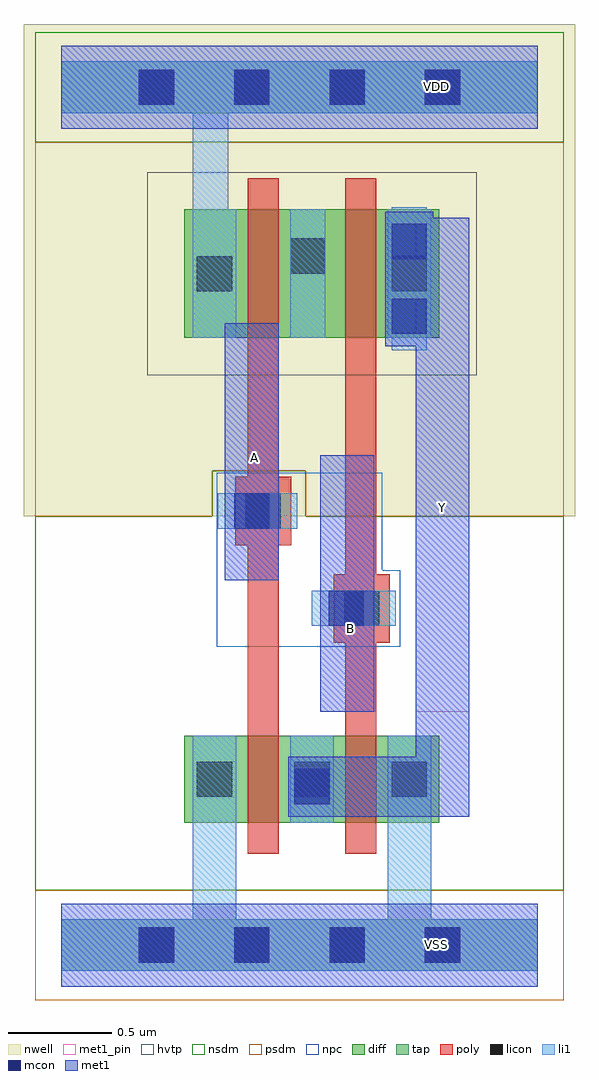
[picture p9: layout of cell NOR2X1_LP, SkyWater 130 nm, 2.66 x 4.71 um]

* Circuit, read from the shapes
.subckt NOR2X1_LP A B VDD VSS Y
XM1 Y A VSS VSS sky130_fd_pr__nfet_01v8 w=0.42 l=0.15
XM2 VSS B Y VSS sky130_fd_pr__nfet_01v8 w=0.42 l=0.15
XM3 n1 A VDD VDD sky130_fd_pr__pfet_01v8_hvt w=0.62 l=0.15
XM4 Y B n1 VDD sky130_fd_pr__pfet_01v8_hvt w=0.62 l=0.15
.ends

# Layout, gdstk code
import gdstk
lib = gdstk.Library(unit=1e-6, precision=1e-09)
def R(c, l, rs):  # rectangles x0, y0, x1, y1
    for r in rs: c.add(gdstk.rectangle(r[:2], r[2:], *l))
def A(c, l, x, y, w, h, nx, ny, dx, dy):  # array of equal rectangles
    R(c, l, [(x+i*dx, y+j*dy, x+i*dx+w, y+j*dy+h) for i in range(nx) for j in range(ny)])
def P(c, l, *ps):  # polygons
    for p in ps: c.add(gdstk.Polygon(p, *l))
nwell = (64, 20)
diff = (65, 20)
tap = (65, 44)
poly = (66, 20)
licon = (66, 44)
li1 = (67, 20)
mcon = (67, 44)
met1_pin = (68, 16)
met1 = (68, 20)
hvtp = (78, 44)
nsdm = (93, 44)
psdm = (94, 20)
npc = (95, 20)

l1m1_c_cdns_795853916197 = lib.new_cell('L1M1_C_CDNS_795853916197')
R(l1m1_c_cdns_795853916197, li1, [(-0.085,-0.165,0.085,0.165)])
R(l1m1_c_cdns_795853916197, mcon, [(-0.085,-0.085,0.085,0.085)])
R(l1m1_c_cdns_795853916197, met1, [(-0.115,-0.145,0.115,0.145)])

pyl1con_c_cdns_795853916 = lib.new_cell('PYL1CON_C_CDNS_795853916195')
R(pyl1con_c_cdns_795853916, poly, [(-0.135,-0.165,0.135,0.165)])
R(pyl1con_c_cdns_795853916, licon, [(-0.085,-0.085,0.085,0.085)])
R(pyl1con_c_cdns_795853916, npc, [(-0.185,-0.185,0.185,0.185)])

l1m1_c_cdns_795853916199 = lib.new_cell('L1M1_C_CDNS_795853916199')
R(l1m1_c_cdns_795853916199, li1, [(-0.085,-0.345,0.085,0.345)])
R(l1m1_c_cdns_795853916199, mcon, [(-0.085,-0.265,0.085,-0.095), (-0.085,0.095,0.085,0.265)])
R(l1m1_c_cdns_795853916199, met1, [(-0.115,-0.325,0.115,0.325)])

l1m1_c_cdns_795853916194 = lib.new_cell('L1M1_C_CDNS_795853916194')
R(l1m1_c_cdns_795853916194, li1, [(-0.165,-0.085,0.165,0.085)])
R(l1m1_c_cdns_795853916194, mcon, [(-0.085,-0.085,0.085,0.085)])
R(l1m1_c_cdns_795853916194, met1, [(-0.115,-0.145,0.115,0.145)])

licondiff_c_cdns_7958539 = lib.new_cell('LICONDIFF_C_CDNS_795853916196')
R(licondiff_c_cdns_7958539, diff, [(-0.125,-0.145,0.125,0.145)])
R(licondiff_c_cdns_7958539, licon, [(-0.085,-0.085,0.085,0.085), (-0.085,-0.085,0.085,0.085)])

nor2x1_lp = lib.new_cell('NOR2X1_LP')
R(nor2x1_lp, nwell, [(-0.18,2.07,2.48,4.445)])
R(nor2x1_lp, diff, [(0.595,0.59,1.825,1.01), (0.595,2.93,1.825,3.55)])
R(nor2x1_lp, poly, [(0.9,0.44,1.05,3.7), (1.37,0.44,1.52,3.7)])
A(nor2x1_lp, licon, 0.375, -0.085, 0.17, 0.17, 4, 2, 0.46, 4.14)
A(nor2x1_lp, licon, 0.655, 0.715, 0.17, 0.17, 3, 1, 0.47, 0)
R(nor2x1_lp, licon, [(0.655,3.155,0.825,3.325), (1.595,3.155,1.765,3.325)])
R(nor2x1_lp, li1, [(1.105,0.59,1.315,1.01), (1.575,2.93,1.785,3.55)])
P(nor2x1_lp, li1, [(0.635,2.93),(0.635,4.015),(0,4.015),(0,4.265),(2.3,4.265),(2.3,4.015),(0.805,4.015),(0.805,3.55),(0.845,3.55),(0.845,2.93)],
  [(0,-0.125),(0,0.125),(0.635,0.125),(0.635,1.01),(0.845,1.01),(0.845,0.125),(1.575,0.125),(1.575,1.01),(1.785,1.01),(1.785,0.125),(2.3,0.125),(2.3,-0.125)])
A(nor2x1_lp, mcon, 0.375, -0.085, 0.17, 0.17, 4, 2, 0.46, 4.14)
R(nor2x1_lp, met1_pin, [(1.25,1.125,1.51,2.365), (1.71,1.125,1.97,3.51), (0.79,1.76,1.05,3)])
P(nor2x1_lp, met1, [(1.15,0.62),(1.15,0.91),(1.71,0.91),(1.71,3.51),(1.97,3.51),(1.97,0.62)])
R(nor2x1_lp, hvtp, [(0.415,2.75,2.005,3.73)])
R(nor2x1_lp, nsdm, [(-0.125,3.875,2.425,4.405)])
P(nor2x1_lp, nsdm, [(-0.125,0.265),(-0.125,2.07),(0.73,2.07),(0.73,2.29),(1.18,2.29),(1.18,2.07),(2.425,2.07),(2.425,0.265)])
R(nor2x1_lp, psdm, [(-0.125,-0.265,2.425,0.265)])
P(nor2x1_lp, psdm, [(-0.125,2.07),(-0.125,3.875),(2.425,3.875),(2.425,2.07),(1.18,2.07),(1.18,2.29),(0.73,2.29),(0.73,2.07)])
R(nor2x1_lp, npc, [(0.75,1.44,1.55,2.28)])
nor2x1_lp.add(gdstk.FlexPath([(0.92,1.76),(0.92,3)], 0.26, ends="flush", simple_path=True, layer=68, datatype=20))  # met1
nor2x1_lp.add(gdstk.FlexPath([(1.38,1.125),(1.38,2.365)], 0.26, ends="flush", simple_path=True, layer=68, datatype=20))  # met1
nor2x1_lp.add(gdstk.FlexPath([(0,0),(2.3,0)], 0.4, ends="flush", simple_path=True, layer=68, datatype=20))  # met1
nor2x1_lp.add(gdstk.FlexPath([(0,4.14),(2.3,4.14)], 0.4, ends="flush", simple_path=True, layer=68, datatype=20))  # met1
nor2x1_lp.add(gdstk.FlexPath([(1.19,2.93),(1.19,3.55)], 0.17, ends="flush", simple_path=True, layer=67, datatype=20))  # li1
nor2x1_lp.add(gdstk.FlexPath([(0.92,2.095),(1.14,2.095)], 0.17, ends="flush", simple_path=True, layer=67, datatype=20))  # li1
nor2x1_lp.add(gdstk.FlexPath([(1.375,1.625),(1.615,1.625)], 0.17, ends="flush", simple_path=True, layer=67, datatype=20))  # li1
nor2x1_lp.add(gdstk.FlexPath([(0,0),(2.3,0)], 0.25, ends="flush", simple_path=True, layer=65, datatype=44))  # tap
nor2x1_lp.add(gdstk.FlexPath([(0,4.14),(2.3,4.14)], 0.25, ends="flush", simple_path=True, layer=65, datatype=44))  # tap
nor2x1_lp.add(gdstk.FlexPath([(0,4.14),(2.3,4.14)], 0.4, ends="flush", simple_path=True, layer=68, datatype=16))  # met1_pin
nor2x1_lp.add(gdstk.FlexPath([(0,0),(2.3,0)], 0.4, ends="flush", simple_path=True, layer=68, datatype=16))  # met1_pin
nor2x1_lp.add(gdstk.Reference(l1m1_c_cdns_795853916197, (1.21,0.765)))
nor2x1_lp.add(gdstk.Reference(pyl1con_c_cdns_795853916, (1.45,1.625), x_reflection=True))
nor2x1_lp.add(gdstk.Reference(pyl1con_c_cdns_795853916, (0.975,2.095), x_reflection=True))
nor2x1_lp.add(gdstk.Reference(l1m1_c_cdns_795853916199, (1.68,3.215)))
nor2x1_lp.add(gdstk.Reference(l1m1_c_cdns_795853916194, (0.92,2.095), x_reflection=True))
nor2x1_lp.add(gdstk.Reference(l1m1_c_cdns_795853916194, (1.375,1.625), x_reflection=True))
nor2x1_lp.add(gdstk.Reference(licondiff_c_cdns_7958539, (1.19,3.325)))
nor2x1_lp.add(gdstk.Label('VSS', (1.81,0.005), layer=68, texttype=5))
nor2x1_lp.add(gdstk.Label('B', (1.395,1.53), layer=68, texttype=5))
nor2x1_lp.add(gdstk.Label('A', (0.935,2.355), layer=68, texttype=5))
nor2x1_lp.add(gdstk.Label('Y', (1.84,2.11), layer=68, texttype=5))
nor2x1_lp.add(gdstk.Label('VDD', (1.81,4.145), layer=68, texttype=5))

lib.write_gds('NOR2X1_LP.gds')
